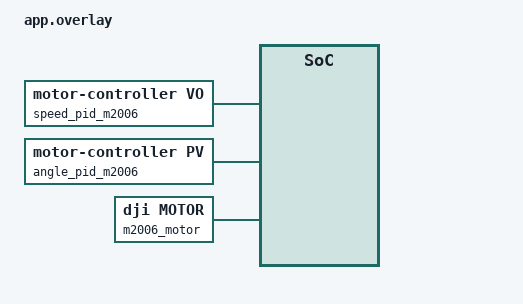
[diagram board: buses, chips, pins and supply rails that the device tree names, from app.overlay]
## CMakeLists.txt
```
cmake_minimum_required(VERSION 3.20.0)

find_package(Zephyr REQUIRED HINTS $ENV{ZEPHYR_BASE})
project(dji_m2006_verify)

target_sources(app PRIVATE src/main.c)
```

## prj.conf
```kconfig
CONFIG_MAIN_THREAD_PRIORITY=7
CONFIG_MAIN_STACK_SIZE=4096
CONFIG_SYSTEM_WORKQUEUE_STACK_SIZE=2048

CONFIG_LOG=y
CONFIG_LOG_DEFAULT_LEVEL=3
CONFIG_LOG_BACKEND_UART=y
CONFIG_LOG_MODE_IMMEDIATE=y

CONFIG_SENSOR=n
CONFIG_BMI08X=n

CONFIG_MOTOR=y
CONFIG_MOTOR_DJI=y

CONFIG_CAN=y
CONFIG_CAN_INIT_PRIORITY=80
```

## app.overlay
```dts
/ {
	speed_pid_m2006: speed_pid_m2006 {
		compatible = "motor-controller,vo";
		target = "speed";
		k_p = "4.0";
		k_i = "0.15";
		k_d = "0.0";
		i_max = "0.18";
		out_max = "0.25";
	};

	angle_pid_m2006: angle_pid_m2006 {
		compatible = "motor-controller,pv";
		pos_k_p = "1.5";
		pos_k_i = "0.0";
		pos_k_d = "0.0";
		pos_out_max = "30.0";
		vel_k_p = "4.0";
		vel_k_i = "0.15";
		vel_k_d = "0.0";
		vel_i_max = "0.18";
		vel_out_max = "0.25";
	};

	m2006_motor: m2006_motor {
		compatible = "dji,motor";
		is_m2006;
		id = <1>;
		rx_id = <0x201>;
		tx_id = <0x200>;
		gear_ratio = "36.0";
		status = "okay";
		can_channel = <&can1>;
		controllers = <&angle_pid_m2006 &speed_pid_m2006>;
	};
};
```

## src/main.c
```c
/*
 * DJI M2006 verification app for DM_MC02 FDCAN1.
 *
 * Copyright (c) 2026 ttwards
 * SPDX-License-Identifier: Apache-2.0
 */

#include <errno.h>

#include <zephyr/device.h>
#include <zephyr/drivers/can.h>
#include <zephyr/drivers/motor.h>
#include <zephyr/kernel.h>
#include <zephyr/logging/log.h>

LOG_MODULE_REGISTER(dji_m2006_verify, LOG_LEVEL_INF);

#define M2006_NODE DT_NODELABEL(m2006_motor)
#define CAN1_NODE  DT_NODELABEL(can1)

static const struct device *const motor = DEVICE_DT_GET(M2006_NODE);
static const struct device *const can1 = DEVICE_DT_GET(CAN1_NODE);

static const float test_rpm[] = {
	0.0f, 30.0f, 60.0f, -30.0f, 0.0f,
};

static const float test_torque[] = {
	0.0f,
	0.15f,
	-0.15f,
	0.0f,
};

static const float test_angle[] = {
	0.0f, 90.0f, 0.0f, -90.0f, 0.0f,
};

static int32_t scale_100(float value)
{
	return (int32_t)(value * 100.0f);
}

static int32_t scale_1000(float value)
{
	return (int32_t)(value * 1000.0f);
}

static void log_status(const char *tag)
{
	motor_status_t status = {0};
	int ret = motor_get(motor, &status);

	if (ret != 0) {
		LOG_ERR("%s motor_get failed: %d", tag, ret);
		return;
	}

	LOG_INF("%s online=%d enabled=%d mode=%d target=%d err=%d rpm_x100=%d angle_x100=%d "
		"sum_x100=%d torque_x1000=%d temp_x100=%d",
		tag, status.online, status.enabled, status.mode, status.target, status.error,
		scale_100(status.rpm), scale_100(status.angle), scale_100(status.sum_angle),
		scale_1000(status.torque), scale_100(status.temperature));
}

int main(void)
{
	int ret;

	LOG_INF("DJI M2006 verify start: board=dm_mc02 can=FDCAN1 tx=0x200 rx=0x201");

	if (!device_is_ready(can1)) {
		LOG_ERR("CAN1 device is not ready");
		return -ENODEV;
	}

	if (!device_is_ready(motor)) {
		LOG_ERR("M2006 motor device is not ready");
		return -ENODEV;
	}

	ret = can_start(can1);
	LOG_INF("can_start(can1) ret=%d", ret);

	for (int i = 0; i < 10; i++) {
		log_status("listen");
		k_msleep(200);
	}

	motor_control(motor, ENABLE_MOTOR);
	LOG_INF("motor enable requested");
	motor_control(motor, SET_ZERO);
	LOG_INF("motor zero requested");
	k_msleep(500);

	while (1) {
		for (size_t i = 0; i < ARRAY_SIZE(test_angle); i++) {
			float angle = test_angle[i];

			LOG_INF("set angle angle_x100=%d", scale_100(angle));
			ret = motor_set_angle(motor, angle);
			if (ret != 0) {
				LOG_ERR("motor_set_angle failed: %d", ret);
			}

			for (int j = 0; j < 20; j++) {
				log_status("angle");
				k_msleep(200);
			}
		}

		ret = motor_set_torque(motor, 0.0f);
		LOG_INF("angle cycle done, set torque 0 ret=%d", ret);
		for (int i = 0; i < 10; i++) {
			log_status("angle-stop");
			k_msleep(200);
		}

		for (size_t i = 0; i < ARRAY_SIZE(test_torque); i++) {
			float torque = test_torque[i];

			LOG_INF("set torque torque_x1000=%d", scale_1000(torque));
			ret = motor_set_torque(motor, torque);
			if (ret != 0) {
				LOG_ERR("motor_set_torque failed: %d", ret);
			}

			for (int j = 0; j < 10; j++) {
				log_status("torque");
				k_msleep(200);
			}
		}

		for (size_t i = 0; i < ARRAY_SIZE(test_rpm); i++) {
			float rpm = test_rpm[i];

			LOG_INF("set speed rpm_x100=%d", scale_100(rpm));
			ret = motor_set_speed(motor, rpm);
			if (ret != 0) {
				LOG_ERR("motor_set_speed failed: %d", ret);
			}

			for (int j = 0; j < 10; j++) {
				log_status("run");
				k_msleep(200);
			}
		}

		ret = motor_set_torque(motor, 0.0f);
		LOG_INF("set torque 0 ret=%d", ret);
		for (int i = 0; i < 10; i++) {
			log_status("stop");
			k_msleep(200);
		}
	}
}
```
